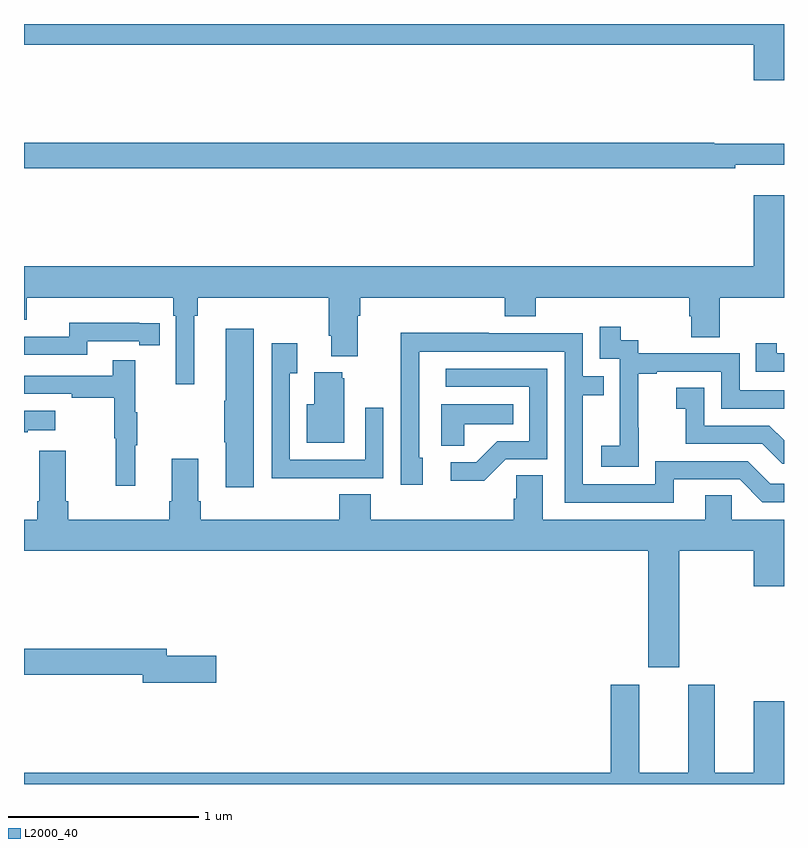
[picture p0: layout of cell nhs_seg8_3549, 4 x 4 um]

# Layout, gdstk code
import gdstk
lib = gdstk.Library(unit=1e-6, precision=1e-09)
def P(c, l, *ps):  # polygons
    for p in ps: c.add(gdstk.Polygon(p, *l))
L2000_40 = (2000, 40)

nhs_seg8_3549 = lib.new_cell('nhs_seg8_3549')
P(nhs_seg8_3549, L2000_40, [(329,1157.792),(332.84,1157.792),(332.84,1157.604),(333,1157.604),(333,1157.9),(329,1157.9)],
  [(332.744,1157.159),(333,1157.159),(333,1157.269),(332.633,1157.269),(332.633,1157.276),(329,1157.276),(329,1157.14),(332.744,1157.14)],
  [(329,1156.343),(329.014,1156.343),(329.014,1156.46),(329.786,1156.46),(329.786,1156.364),(329.799,1156.364),(329.799,1156.005),(329.896,1156.005),(329.896,1156.364),(329.915,1156.364),(329.915,1156.46),(330.605,1156.46),(330.605,1156.258),(330.617,1156.258),(330.617,1156.151),(330.757,1156.151),(330.757,1156.364),(330.77,1156.364),(330.77,1156.46),(331.529,1156.46),(331.529,1156.361),(331.694,1156.361),(331.694,1156.46),(332.501,1156.46),(332.501,1156.362),(332.513,1156.362),(332.513,1156.252),(332.661,1156.252),(332.661,1156.46),(333,1156.46),(333,1156.999),(332.84,1156.999),(332.84,1156.624),(329,1156.624)],
  [(329.334,1156.23),(329.606,1156.23),(329.606,1156.21),(329.714,1156.21),(329.714,1156.326),(329.606,1156.326),(329.606,1156.327),(329.238,1156.327),(329.238,1156.254),(329,1156.254),(329,1156.158),(329.334,1156.158)],
  [(332.235,1155.775),(332.234,1155.775),(332.234,1156.059),(332.329,1156.059),(332.329,1156.071),(332.67,1156.071),(332.67,1155.876),(333,1155.876),(333,1155.972),(332.766,1155.972),(332.766,1156.167),(332.232,1156.167),(332.232,1156.236),(332.14,1156.236),(332.14,1156.306),(332.031,1156.306),(332.031,1156.137),(332.136,1156.137),(332.136,1155.908),(332.135,1155.908),(332.135,1155.679),(332.037,1155.679),(332.037,1155.569),(332.235,1155.569)],
  [(330.208,1156.297),(330.062,1156.297),(330.062,1155.917),(330.055,1155.917),(330.055,1155.7),(330.062,1155.7),(330.062,1155.462),(330.208,1155.462)],
  [(332.419,1155.504),(332.766,1155.504),(332.886,1155.384),(333,1155.384),(333,1155.48),(332.928,1155.48),(332.808,1155.6),(332.322,1155.6),(332.322,1155.477),(331.941,1155.477),(331.941,1155.946),(332.051,1155.946),(332.051,1156.047),(331.941,1156.047),(331.941,1156.272),(331.445,1156.272),(331.445,1156.274),(330.982,1156.274),(330.982,1155.967),(330.984,1155.967),(330.984,1155.474),(331.099,1155.474),(331.099,1155.618),(331.08,1155.618),(331.08,1156.176),(331.845,1156.176),(331.845,1155.381),(332.419,1155.381)],
  [(330.575,1155.51),(330.891,1155.51),(330.891,1155.88),(330.795,1155.88),(330.795,1155.606),(330.399,1155.606),(330.399,1156.063),(330.439,1156.063),(330.439,1156.219),(330.303,1156.219),(330.303,1155.509),(330.575,1155.509)],
  [(333,1156.167),(332.962,1156.167),(332.962,1156.219),(332.851,1156.219),(332.851,1156.071),(333,1156.071)],
  [(329.585,1155.683),(329.596,1155.683),(329.596,1155.857),(329.585,1155.857),(329.585,1156.129),(329.467,1156.129),(329.467,1156.05),(329,1156.05),(329,1155.954),(329.251,1155.954),(329.251,1155.934),(329.475,1155.934),(329.475,1155.72),(329.482,1155.72),(329.482,1155.471),(329.585,1155.471)],
  [(331.536,1155.609),(331.755,1155.609),(331.755,1156.086),(331.221,1156.086),(331.221,1155.99),(331.659,1155.99),(331.659,1155.705),(331.49,1155.705),(331.379,1155.594),(331.245,1155.594),(331.245,1155.497),(331.423,1155.497)],
  [(330.685,1156.035),(330.674,1156.035),(330.674,1156.066),(330.527,1156.066),(330.527,1155.898),(330.488,1155.898),(330.488,1155.695),(330.685,1155.695)],
  [(333,1155.708),(332.922,1155.786),(332.58,1155.786),(332.58,1155.985),(332.433,1155.985),(332.433,1155.875),(332.482,1155.875),(332.482,1155.69),(332.885,1155.69),(332.99,1155.585),(333,1155.585)],
  [(331.317,1155.794),(331.574,1155.794),(331.574,1155.898),(331.196,1155.898),(331.196,1155.679),(331.317,1155.679)],
  [(329.021,1155.761),(329.164,1155.761),(329.164,1155.865),(329,1155.865),(329,1155.751),(329.021,1155.751)],
  [(332.449,1155.128),(332.84,1155.128),(332.84,1154.94),(333,1154.94),(333,1155.292),(332.724,1155.292),(332.724,1155.419),(332.585,1155.419),(332.585,1155.292),(331.729,1155.292),(331.729,1155.524),(331.59,1155.524),(331.59,1155.401),(331.577,1155.401),(331.577,1155.292),(330.824,1155.292),(330.824,1155.425),(330.659,1155.425),(330.659,1155.292),(329.93,1155.292),(329.93,1155.388),(329.917,1155.388),(329.917,1155.613),(329.777,1155.613),(329.777,1155.388),(329.765,1155.388),(329.765,1155.292),(329.234,1155.292),(329.234,1155.388),(329.221,1155.388),(329.221,1155.655),(329.081,1155.655),(329.081,1155.388),(329.069,1155.388),(329.069,1155.292),(329,1155.292),(329,1155.128),(332.285,1155.128),(332.285,1154.514),(332.449,1154.514)],
  [(330.013,1154.576),(329.752,1154.576),(329.752,1154.612),(329,1154.612),(329,1154.476),(329.624,1154.476),(329.624,1154.434),(330.013,1154.434)],
  [(333,1154.335),(332.84,1154.335),(332.84,1153.96),(332.635,1153.96),(332.635,1154.422),(332.495,1154.422),(332.495,1153.96),(332.239,1153.96),(332.239,1154.422),(332.087,1154.422),(332.087,1153.96),(329,1153.96),(329,1153.9),(333,1153.9)])

lib.write_gds('nhs_seg8_3549.gds')
